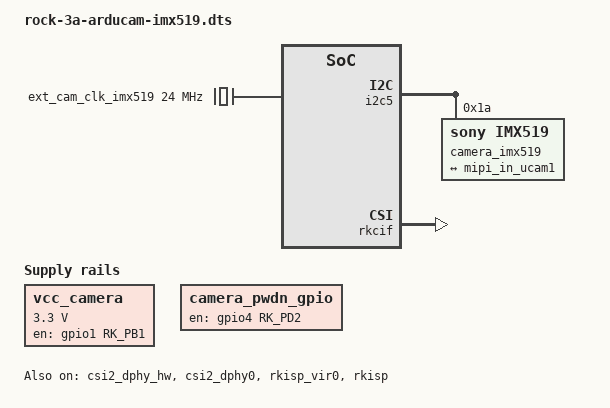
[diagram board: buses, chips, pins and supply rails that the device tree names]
/dts-v1/;
/plugin/;

#include <dt-bindings/gpio/gpio.h>
#include <dt-bindings/pinctrl/rockchip.h>

/ {
	metadata {
		title = "Enable Arducam IMX519";
		compatible = "radxa,rock-3a", "radxa,rock-3b";
		category = "camera";
		exclusive = "csi2_dphy0";
		description = "Enable Arducam IMX519";
	};
};

&{/} {


	vcc_camera: vcc-camera {
		status = "okay";
		compatible = "regulator-fixed";
		regulator-name = "vcc_camera";
		gpio = <&gpio1 RK_PB1 GPIO_ACTIVE_HIGH>;
		enable-active-high;
		regulator-min-microvolt = <3300000>;
		regulator-max-microvolt = <3300000>;
		regulator-always-on;
		regulator-boot-on;
	};

	camera_pwdn_gpio: camera-pwdn-gpio {
		status = "okay";
		compatible = "regulator-fixed";
		regulator-name = "camera_pwdn_gpio";
		regulator-always-on;
		regulator-boot-on;
		enable-active-high;
		gpio = <&gpio4 RK_PD2 GPIO_ACTIVE_HIGH>;
	};
		ext_cam_clk_imx519: ext-cam-clk-imx519 {
		status = "okay";
		compatible = "fixed-clock";
		clock-frequency = <24000000>;
		clock-output-names = "ext_cam_clk_imx519";
		#clock-cells = <0>;
	};
};

&i2c5 {
	status = "okay";
	pinctrl-names = "default";
	pinctrl-0 = <&i2c5m0_xfer>;
	#address-cells = <1>;
	#size-cells = <0>;

	camera_imx519: camera-imx519@1a {
		status = "okay";
		compatible = "sony,imx519";
		reg = <0x1a>;
		clocks = <&ext_cam_clk_imx519>;
		clock-names = "xclk";
		rockchip,camera-module-index = <0>;
		rockchip,camera-module-facing = "front";
		rockchip,camera-module-name = "arducam-imx519";
		rockchip,camera-module-lens-name = "default";

		port {
			imx519_out: endpoint {
				remote-endpoint = <&mipi_in_ucam1>;
				data-lanes = <1 2>;
			};
		};
	};
};

&csi2_dphy_hw {
	status = "okay";
};

&csi2_dphy0 {
	status = "okay";

	ports {
		#address-cells = <1>;
		#size-cells = <0>;

		port@0 {
			reg = <0>;
			#address-cells = <1>;
			#size-cells = <0>;

			mipi_in_ucam1: endpoint@2 {
				reg = <2>;
				remote-endpoint = <&imx519_out>;
				data-lanes = <1 2>;
			};
		};

		port@1 {
			reg = <1>;
			#address-cells = <1>;
			#size-cells = <0>;

			dphy0_out: endpoint@1 {
				reg = <1>;
				remote-endpoint = <&isp0_in>;
			};
		};
	};
};

&rkisp_vir0 {
	status = "okay";

	port {
		#address-cells = <1>;
		#size-cells = <0>;

		isp0_in: endpoint@0 {
			reg = <0>;
			remote-endpoint = <&dphy0_out>;
		};
	};
};

&rkisp {
	status = "okay";
};

&rkisp_mmu {
	status = "okay";
};

&rkcif_mmu {
	status = "okay";
};

&rkcif {
	status = "okay";
};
